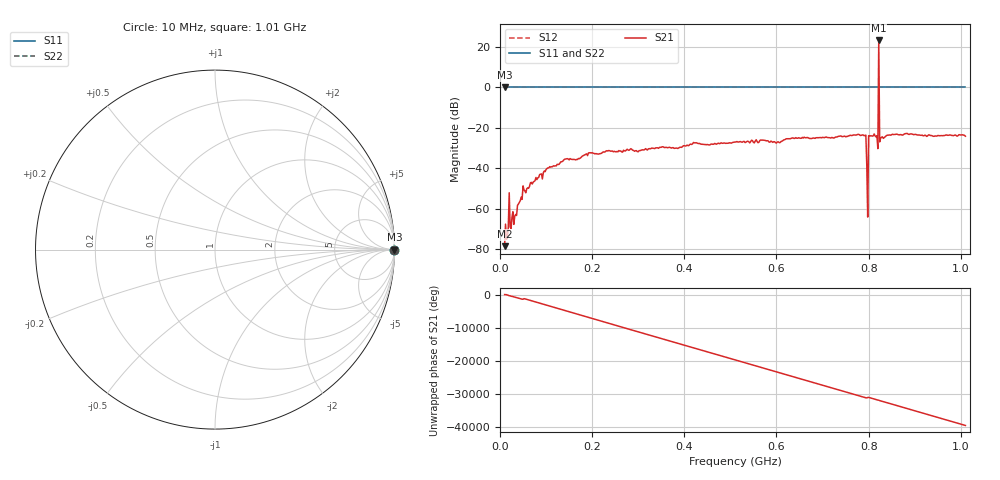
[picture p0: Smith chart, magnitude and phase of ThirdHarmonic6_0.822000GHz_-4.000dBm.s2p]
! 8/16/2025 3:18:54 AM
! C:\ANRITSUVNA\TEMP\TEMP.S2P
! CHANNEL.1
! TR.MEASUREMENT
! RAW.DATA
! RF.CORRECTION.OFF
! AVERAGING.OFF
! IF.BANDWIDTH: 5KHZ
! SWEEPTYPE:  FREQ.SWEEP(Linear)
! Reference Plane Port Info
! PORT:  PORT1  PORT2
! DISTANCE:  0  m  0  m
! TIME:  0  s  0  s
! PHASE.OFFSET:  0  deg.  0  deg.
! LOSS:  0  dB  0  dB
! REF.LOSS:  0  dB  0  dB
! REF.FREQ:  0  Hz  0  Hz
! Power Info
! POWER:  -20  dBm  -20  dBm
! EFF.POWER:  -20  dBm  -20  dBm
! SOURCE.ATTEN:  0  dB  0  dB
! TEST.ATTEN:  0  dB  0  dB
# GHZ S RI R 50.0
! FREQ.GHZ  S11RE  S11IM  S21RE  S21IM  S12RE  S12IM  S22RE  S22IM
!; PortSelection: Port_12
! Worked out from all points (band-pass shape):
!   501 points, 10 MHz to 1.01 GHz, reference 50 ohm
!   highest |S21| = 23.22 dB at 822 MHz (marker M1); lowest = -78.5 dB at 10 MHz (marker M2)
!   |S21| within 3 dB of the highest: 821.8878 MHz to 822.1197 MHz (231.9 kHz wide, 0.0282 % of centre)
!   lowest |S11| = 0.0 dB at 10 MHz (marker M3)
!   |S11| at or under -10 dB: nowhere
!   |S22| runs from 0.0 to 0.0 dB; largest |S21 - S12| = 15
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0.01  1 0  9.85e-05 6.76e-05  1 0  1 0
0.014  1 0  0.000174 -2.79e-05  1 0  1 0
0.016  1 0  -2e-05 -0.000189  1 0  1 0
0.034  1 0  0.000341 -0.000642  1 0  1 0
0.054  1 0  -0.00277 -0.000154  1 0  1 0
0.104  1 0  0.00605 -0.00829  1 0  1 0
0.178  1 0  -0.0193 -0.00478  1 0  1 0
0.344  1 0  0.0308 -0.00559  1 0  1 0
0.51  1 0  -0.0424 0.014  1 0  1 0
0.678  1 0  -0.0209 -0.0513  1 0  1 0
0.79  1 0  0.0391 0.0511  1 0  1 0
0.792  1 0  0.0583 -0.0285  1 0  1 0
0.794  1 0  -0.02 -0.0632  1 0  1 0
0.8  1 0  0.0624 0.0147  1 0  1 0
0.804  1 0  -0.055 -0.0318  1 0  1 0
0.816  1 0  0.00121 0.0601  1 0  1 0
0.818  1 0  0.0631 0.0116  1 0  1 0
0.822  1 0  -4.862 -13.65  1 0  1 0
0.826  1 0  0.0396 0.0394  1 0  1 0
0.828  1 0  0.0498 -0.0312  1 0  1 0
0.844  1 0  0.0455 0.0487  1 0  1 0
1.01  1 0  -0.0593 -0.0194  1 0  1 0
